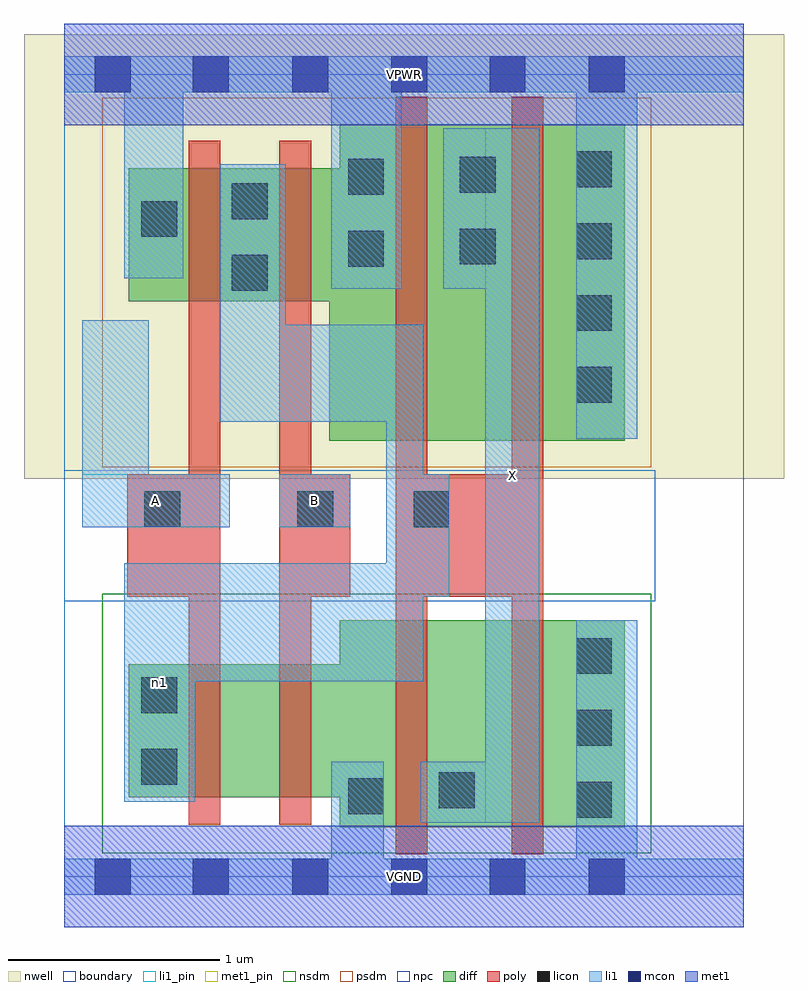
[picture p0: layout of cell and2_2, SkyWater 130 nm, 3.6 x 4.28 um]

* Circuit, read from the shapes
.subckt and2_2 A B VGND VPWR X n1
XM1 n2 A n1 VSUBS sky130_fd_pr__nfet_01v8 w=0.63 l=0.15
XM2 VGND B n2 VSUBS sky130_fd_pr__nfet_01v8 w=0.63 l=0.15
XM3 X n1 VGND VSUBS sky130_fd_pr__nfet_01v8 w=0.98 l=0.15 m=2
XM4 n1 A VPWR n3 sky130_fd_pr__pfet_01v8 w=0.63 l=0.15
XM5 VPWR B n1 n3 sky130_fd_pr__pfet_01v8 w=0.63 l=0.15
XM6 X n1 VPWR n3 sky130_fd_pr__pfet_01v8 w=1.5 l=0.15 m=2
.ends

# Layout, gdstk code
import gdstk
lib = gdstk.Library(unit=1e-6, precision=1e-09)
def R(c, l, rs):  # rectangles x0, y0, x1, y1
    for r in rs: c.add(gdstk.rectangle(r[:2], r[2:], *l))
def A(c, l, x, y, w, h, nx, ny, dx, dy):  # array of equal rectangles
    R(c, l, [(x+i*dx, y+j*dy, x+i*dx+w, y+j*dy+h) for i in range(nx) for j in range(ny)])
nwell = (64, 20)
diff = (65, 20)
poly = (66, 20)
licon = (66, 44)
li1_pin = (67, 16)
li1 = (67, 20)
mcon = (67, 44)
met1_pin = (68, 16)
met1 = (68, 20)
nsdm = (93, 44)
psdm = (94, 20)
npc = (95, 20)
boundary = (235, 4)

and2_2 = lib.new_cell('and2_2')
R(and2_2, nwell, [(-0.19,1.885,3.41,3.99), (0,1.885,3.22,3.99)])
R(and2_2, diff, [(1.305,0.235,2.655,1.215), (0.305,0.375,2.655,1.005), (1.255,2.065,2.655,3.355), (1.305,2.065,2.655,3.565), (0.305,2.725,2.655,3.355)])
R(and2_2, poly, [(1.57,0.105,1.72,3.695), (2.12,0.105,2.27,3.695), (0.59,0.245,0.74,3.485), (1.02,0.245,1.17,3.485), (0.3,1.325,0.74,1.905), (1.02,1.325,1.355,1.905), (1.57,1.325,2.27,1.905)])
A(and2_2, licon, 2.425, 0.28, 0.17, 0.17, 1, 3, 0, 0.34)
A(and2_2, licon, 2.425, 2.245, 0.17, 0.17, 1, 4, 0, 0.34)
R(and2_2, licon, [(1.345,0.295,1.515,0.465), (1.775,0.325,1.945,0.495), (0.365,0.435,0.535,0.605), (0.365,0.775,0.535,0.945), (0.38,1.655,0.55,1.825), (1.105,1.655,1.275,1.825), (1.655,1.655,1.825,1.825), (0.795,2.775,0.965,2.945), (1.345,2.89,1.515,3.06), (1.875,2.9,2.045,3.07), (0.365,3.03,0.535,3.2), (0.795,3.115,0.965,3.285), (1.345,3.23,1.515,3.4), (1.875,3.24,2.045,3.41)])
R(and2_2, li1_pin, [(1.995,0.255,2.25,3.545), (0.085,1.655,0.785,1.905), (1.02,1.655,1.355,1.905)])
R(and2_2, li1, [(0,-0.085,3.22,0.085), (1.265,-0.085,1.515,0.545), (2.425,-0.085,2.715,1.215), (1.69,0.255,2.25,0.545), (1.995,0.255,2.25,3.545), (0.285,0.355,0.62,1.485), (0.285,0.925,1.7,1.485), (1.525,0.925,1.7,2.615), (1.525,1.325,1.825,1.905), (0.085,1.655,0.4,2.635), (0.085,1.655,0.785,1.905), (1.02,1.655,1.355,1.905), (2.425,2.075,2.715,3.885), (0.74,2.155,1.05,3.375), (0.74,2.155,1.7,2.615), (1.265,2.785,1.6,3.885), (1.795,2.785,2.25,3.545), (0.285,2.835,0.565,3.885), (0,3.715,3.22,3.885)])
A(and2_2, mcon, 0.61, -0.085, 0.17, 0.17, 3, 2, 0.47, 3.8)
R(and2_2, mcon, [(0.145,-0.085,0.315,0.085), (2.015,-0.085,2.185,0.085), (2.485,-0.085,2.655,0.085), (0.145,3.715,0.315,3.885), (2.015,3.715,2.185,3.885), (2.485,3.715,2.655,3.885)])
R(and2_2, met1_pin, [(0,-0.24,3.22,0.24), (0,3.56,3.22,4.04)])
R(and2_2, met1, [(0,-0.24,3.22,0.24), (0,3.56,3.22,4.04)])
R(and2_2, nsdm, [(0.18,0.11,2.78,1.34)])
R(and2_2, psdm, [(0.18,1.94,2.78,3.69)])
R(and2_2, npc, [(0,1.305,2.8,1.925)])
R(and2_2, boundary, [(0,0,3.22,3.8)])
and2_2.add(gdstk.Label('A', (0.435,1.78), layer=67, texttype=5))
and2_2.add(gdstk.Label('B', (1.187,1.78), layer=67, texttype=5))
and2_2.add(gdstk.Label('X', (2.122,1.9), layer=67, texttype=5))
and2_2.add(gdstk.Label('n1', (0.452,0.92), layer=67, texttype=5))
and2_2.add(gdstk.Label('VPWR', (1.61,3.8), layer=68, texttype=5))
and2_2.add(gdstk.Label('VGND', (1.61,0), layer=68, texttype=5))
and2_2.add(gdstk.Label('A', (0.435,1.78), layer=67, texttype=16))
and2_2.add(gdstk.Label('B', (1.187,1.78), layer=67, texttype=16))
and2_2.add(gdstk.Label('X', (2.122,1.9), layer=67, texttype=16))
and2_2.add(gdstk.Label('VPWR', (1.61,3.8), layer=68, texttype=16))
and2_2.add(gdstk.Label('VGND', (1.61,0), layer=68, texttype=16))

lib.write_gds('and2_2.gds')
